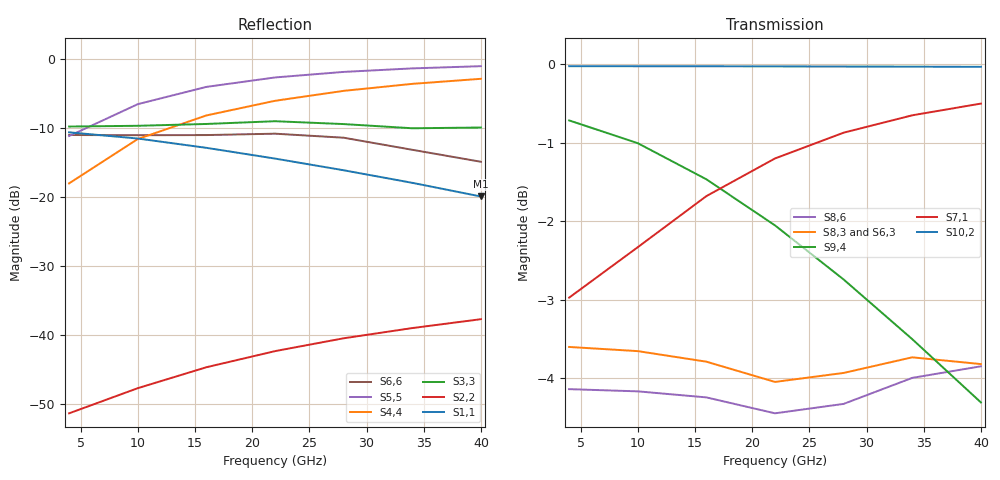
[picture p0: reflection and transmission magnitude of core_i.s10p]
! Generated by circuitRF - EM: Full-wave planar
! circuitRF-EM setup: core_i
! circuitRF-EM layout: CORE/layout/CORE.clay
! circuitRF-EM written: 2026-11-14 20:50:45Z
! circuitRF-EM stamp: 20261114T205045Z-dc70e170
! circuitRF-EM geometry: 01c7987c68071ea4
! circuitRF-EM mesh: 099879cdb6ab51d1
! circuitRF-EM ports: b529c4d416c8b6f2
! circuitRF-EM model: grounded-edge-port-2026-10-14
! Port[1] = 1
! Port[2] = 2
! Port[3] = 3
! Port[4] = Q1.C
! Port[5] = Q1.B
! Port[6] = Q1.E
! Port[7] = C1.PLUS
! Port[8] = C1.MINUS
! Port[9] = C2.PLUS
! Port[10] = C2.MINUS
! circuitRF-EM port 1: '1' on 'TopMetal1' at (-4.75, -60 um), edge, uncalibrated (not de-embedded), 50 Ohm
! circuitRF-EM port 2: '2' on 'TopMetal1' at (205, -35 um), edge, uncalibrated (not de-embedded), 50 Ohm
! circuitRF-EM port 3: '3' on 'TopMetal1' at (-100, 37.5 um), edge, uncalibrated (not de-embedded), 50 Ohm
! circuitRF-EM port 4: 'Q1.C' on 'Metal1' at (84, -33.75 um), edge, uncalibrated (not de-embedded), 50 Ohm
! circuitRF-EM port 5: 'Q1.B' on 'Metal1' at (84, -36.26 um), edge, uncalibrated (not de-embedded), 50 Ohm
! circuitRF-EM port 6: 'Q1.E' on 'Metal2' at (84.925, -35 um), edge, uncalibrated (not de-embedded), 50 Ohm
! circuitRF-EM port 7: 'C1.PLUS' on 'TopMetal1' at (-22.67, -40 um), edge, uncalibrated (not de-embedded), 50 Ohm
! circuitRF-EM port 8: 'C1.MINUS' on 'Metal5' at (-31.05, -40 um), edge, uncalibrated (not de-embedded), 50 Ohm
! circuitRF-EM port 9: 'C2.PLUS' on 'TopMetal1' at (165.55, -35 um), edge, uncalibrated (not de-embedded), 50 Ohm
! circuitRF-EM port 10: 'C2.MINUS' on 'Metal5' at (185.6, -35 um), edge, uncalibrated (not de-embedded), 50 Ohm
! circuitRF-EM: port N of this file is the label named on the 'port N' line above. A circuit that composes this result binds its nets in that order; two ports of a reciprocal part swapped gives a plausible curve of a different structure.
! circuitRF-EM caveat: 2 of these rows are NOT A PASSIVE NETWORK and should not be used: 34 GHz to 40 GHz, worst sigma_max(S) = 1.0964. A passive structure cannot exceed 1, so the excess is this analysis rather than the design. The de-embedding reports no error floor on this sweep, so it is not the 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
! circuitRF-EM: re-running the EM setup rewrites this file. If circuitRF reports it as stale, the layout's cross-section changed after this file was written.
# GHz S RI R 50
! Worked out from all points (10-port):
!   7 points, 4 GHz to 40 GHz, reference 50 ohm
!   strongest paths, dB at 4 GHz, 10 GHz, 22 GHz, 34 GHz, 40 GHz:
!     S10,2: 0.0, 0.0, 0.0, 0.0, 0.0
!     S7,1: -3.0, -2.3, -1.2, -0.6, -0.5
!     S9,4: -0.7, -1.0, -2.1, -3.5, -4.3
!     S8,3: -3.6, -3.7, -4.1, -3.7, -3.8
!     S6,3: -3.9, -4.0, -4.2, -3.8, -3.6
!     S8,6: -4.1, -4.2, -4.5, -4.0, -3.9
!   lowest |S11| = -19.9 dB at 40 GHz (marker M1), VSWR 1.22, Z = 44.5 + j7.86 ohm
!   |S11| at or under -10 dB: start of sweep to end of sweep
